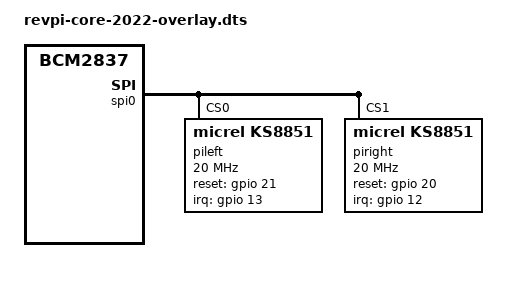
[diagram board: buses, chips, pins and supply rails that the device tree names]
/*
 * Device tree overlay for Revolution Pi by KUNBUS
 *
 * RevPi Core 3 (2022)
 * RevPi Core 3+ (2022)
 */

#include "revpi-core-overlay.dts"
#include <dt-bindings/interrupt-controller/irq.h>

/{
	compatible = "brcm,bcm2837";

	fragment@0 {
		target-path = "/";
		__overlay__ {
			compatible = "kunbus,revpi-core-2022", "brcm,bcm2837";
			/delete-node/ regulator_pbrst;
		};
	};

	fragment@1 {
		target = <&gpio>;
		__overlay__ {
			/delete-node/ eth1_2_reset_pins;

			pileft_pins: pileft_pins {
				brcm,pins     = <13 21>;
				brcm,function = <BCM2835_FSEL_GPIO_IN>;
				brcm,pull     = <BCM2835_PUD_OFF>;
			};

			piright_pins: piright_pins {
				brcm,pins     = <12 20>;
				brcm,function = <BCM2835_FSEL_GPIO_IN>;
				brcm,pull     = <BCM2835_PUD_OFF>;
			};
		};
	};

	fragment@8 {
		target = <&spi0>;
		__overlay__ {
			/delete-node/ ethernet@0;
			/delete-node/ ethernet@1;

			/* The setting of spi-max-frequency refers description in revpi-core-2022. */
			pileft: ethernet@0 {
				/* PiBridge Ethernet left */
				compatible = "micrel,ks8851";
				reg = <0>;
				spi-max-frequency = <20000000>;
				pinctrl-names = "default";
				pinctrl-0 = <&pileft_pins>;
				interrupt-parent = <&gpio>;
				#interrupt-cells = <2>;
				interrupts = <13 IRQ_TYPE_LEVEL_LOW>;
				reset-gpios = <&gpio 21 GPIO_ACTIVE_HIGH>;
				status = "okay";
			};

			piright: ethernet@1 {
				/* PiBridge Ethernet right */
				compatible = "micrel,ks8851";
				reg = <1>;
				spi-max-frequency = <20000000>;
				pinctrl-names = "default";
				pinctrl-0 = <&piright_pins>;
				interrupt-parent = <&gpio>;
				#interrupt-cells = <2>;
				interrupts = <12 IRQ_TYPE_LEVEL_LOW>;
				reset-gpios = <&gpio 20 GPIO_ACTIVE_HIGH>;
				status = "okay";
			};
		};
	};

	__overrides__ {
		/delete-property/ eth0_mac_hi;
		/delete-property/ eth0_mac_lo;
	};
};
